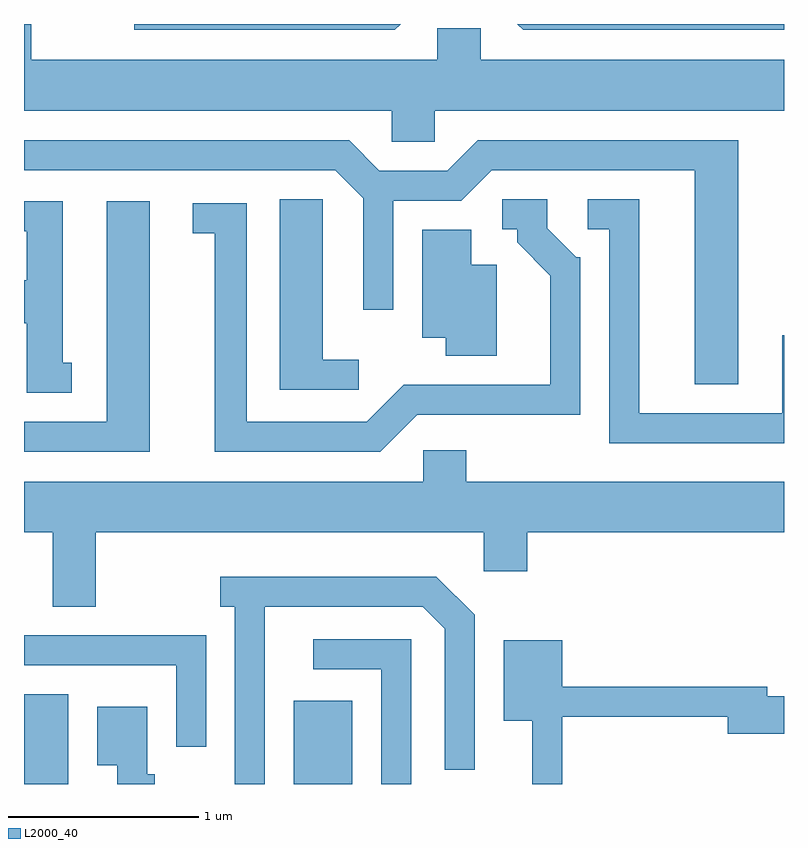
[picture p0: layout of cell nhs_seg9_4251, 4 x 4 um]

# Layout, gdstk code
import gdstk
lib = gdstk.Library(unit=1e-6, precision=1e-09)
def R(c, l, rs):  # rectangles x0, y0, x1, y1
    for r in rs: c.add(gdstk.rectangle(r[:2], r[2:], *l))
def P(c, l, *ps):  # polygons
    for p in ps: c.add(gdstk.Polygon(p, *l))
L2000_40 = (2000, 40)

nhs_seg9_4251 = lib.new_cell('nhs_seg9_4251')
R(nhs_seg9_4251, L2000_40, [(309.611,2050.432,309.844,2050.904), (311.031,2050.432,311.339,2050.869)])
P(nhs_seg9_4251, L2000_40, [(313.611,2054.432),(312.208,2054.432),(312.239,2054.401),(313.611,2054.401)],
  [(311.774,2053.976),(313.611,2053.976),(313.611,2054.244),(312.014,2054.244),(312.014,2054.409),(311.786,2054.409),(311.786,2054.244),(309.649,2054.244),(309.649,2054.432),(309.611,2054.432),(309.611,2053.976),(311.546,2053.976),(311.546,2053.811),(311.774,2053.811)],
  [(311.593,2054.432),(310.191,2054.432),(310.191,2054.401),(311.562,2054.401)],
  [(313.369,2053.819),(311.999,2053.819),(311.839,2053.659),(311.482,2053.659),(311.322,2053.819),(309.611,2053.819),(309.611,2053.661),(311.249,2053.661),(311.396,2053.514),(311.396,2052.928),(311.554,2052.928),(311.554,2053.501),(311.912,2053.501),(312.072,2053.661),(313.141,2053.661),(313.141,2052.536),(313.369,2052.536)],
  [(311.682,2052.376),(312.539,2052.376),(312.539,2053.204),(312.517,2053.204),(312.364,2053.356),(312.364,2053.509),(312.128,2053.509),(312.128,2053.351),(312.206,2053.351),(312.206,2053.284),(312.381,2053.108),(312.381,2052.534),(311.609,2052.534),(311.414,2052.339),(310.784,2052.339),(310.784,2053.489),(310.498,2053.489),(310.498,2053.331),(310.616,2053.331),(310.616,2052.181),(311.487,2052.181)],
  [(311.373,2052.664),(311.184,2052.664),(311.184,2053.509),(310.956,2053.509),(310.956,2052.506),(311.373,2052.506)],
  [(313.611,2052.794),(313.601,2052.794),(313.601,2052.384),(312.849,2052.384),(312.849,2053.509),(312.578,2053.509),(312.578,2053.351),(312.691,2053.351),(312.691,2052.226),(313.611,2052.226)],
  [(309.863,2052.649),(309.814,2052.649),(309.814,2053.499),(309.611,2053.499),(309.611,2053.341),(309.626,2053.341),(309.626,2053.084),(309.611,2053.084),(309.611,2052.856),(309.626,2052.856),(309.626,2052.491),(309.863,2052.491)],
  [(310.274,2053.499),(310.046,2053.499),(310.046,2052.339),(309.611,2052.339),(309.611,2052.181),(310.274,2052.181)],
  [(312.099,2053.164),(311.964,2053.164),(311.964,2053.349),(311.706,2053.349),(311.706,2052.781),(311.831,2052.781),(311.831,2052.686),(312.099,2052.686)],
  [(309.989,2051.756),(312.031,2051.756),(312.031,2051.551),(312.259,2051.551),(312.259,2051.756),(313.611,2051.756),(313.611,2052.024),(311.939,2052.024),(311.939,2052.189),(311.711,2052.189),(311.711,2052.024),(309.611,2052.024),(309.611,2051.756),(309.761,2051.756),(309.761,2051.366),(309.989,2051.366)],
  [(310.879,2051.366),(311.709,2051.366),(311.826,2051.249),(311.826,2050.508),(311.984,2050.508),(311.984,2051.322),(311.782,2051.524),(310.643,2051.524),(310.643,2051.366),(310.721,2051.366),(310.721,2050.432),(310.879,2050.432)],
  [(310.569,2051.214),(309.611,2051.214),(309.611,2051.056),(310.411,2051.056),(310.411,2050.628),(310.569,2050.628)],
  [(311.649,2051.194),(311.133,2051.194),(311.133,2051.036),(311.491,2051.036),(311.491,2050.432),(311.649,2050.432)],
  [(312.444,2050.786),(313.316,2050.786),(313.316,2050.696),(313.611,2050.696),(313.611,2050.894),(313.524,2050.894),(313.524,2050.944),(312.444,2050.944),(312.444,2051.189),(312.136,2051.189),(312.136,2050.766),(312.286,2050.766),(312.286,2050.432),(312.444,2050.432)],
  [(310.299,2050.484),(310.259,2050.484),(310.259,2050.839),(309.996,2050.839),(309.996,2050.531),(310.101,2050.531),(310.101,2050.432),(310.299,2050.432)])

lib.write_gds('nhs_seg9_4251.gds')
